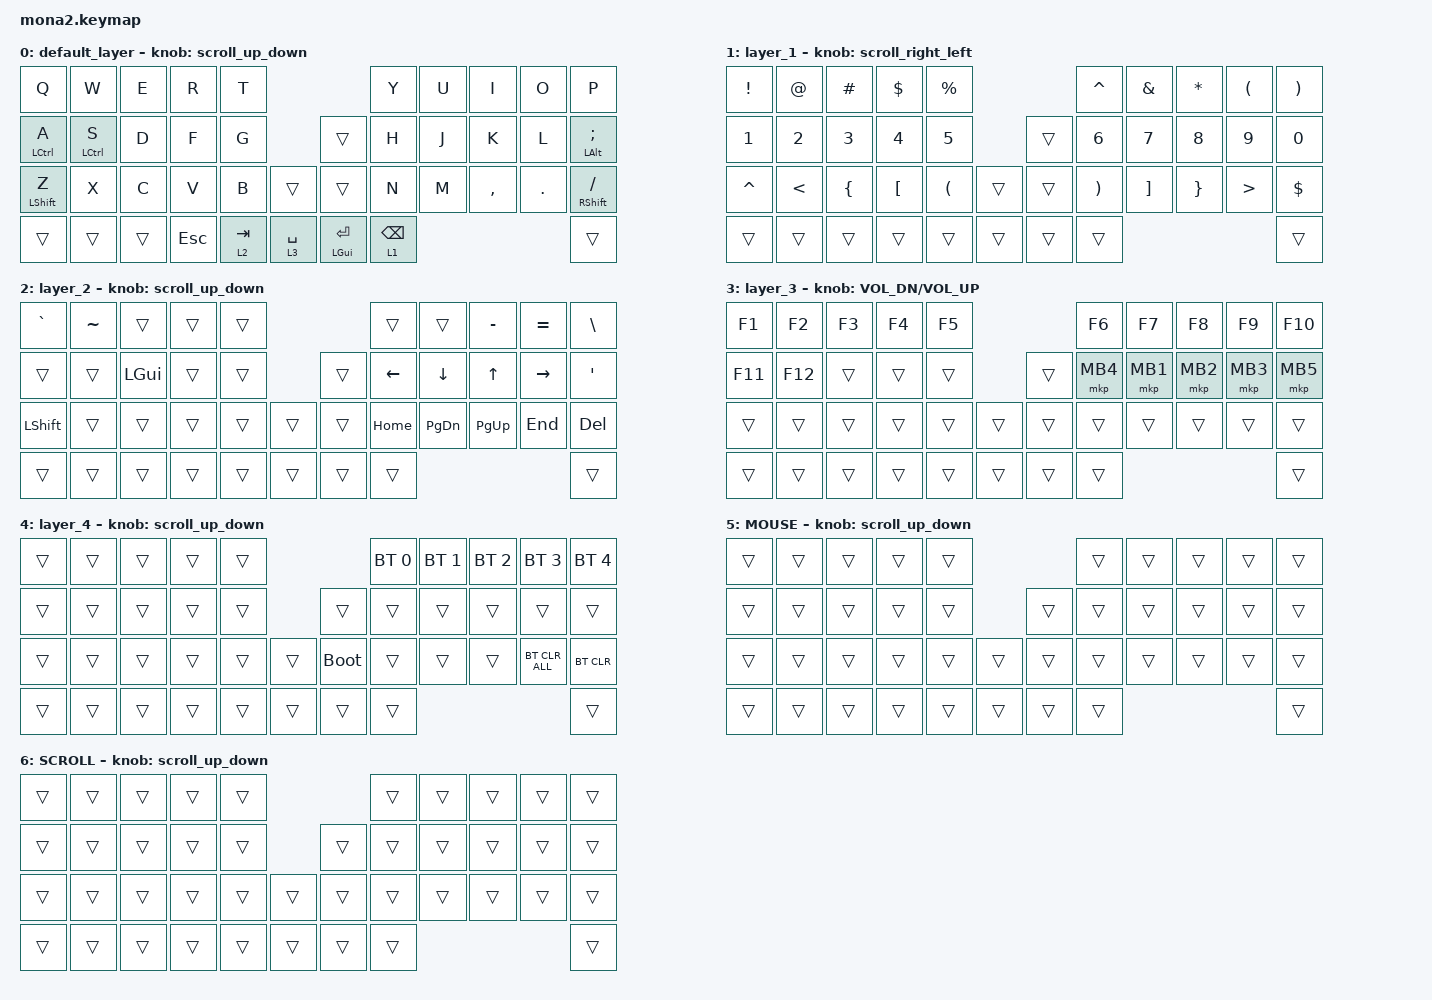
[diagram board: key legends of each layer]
#include <input/processors.dtsi>
#include <dt-bindings/zmk/input_transform.h>
#include <zephyr/dt-bindings/input/input-event-codes.h>
#include <behaviors.dtsi>
#include <dt-bindings/zmk/bt.h>
#include <dt-bindings/zmk/keys.h>
#include <dt-bindings/zmk/pointing.h>

#define ZMK_POINTING_DEFAULT_SCRL_VAL 100
#define MOUSE 5
#define SCROLL 6

&mt {
    flavor = "balanced";
    quick-tap-ms = <0>;
};

&lt {
    quick-tap-ms = <300>;
    flavor = "balanced";
};

/ {
    combos {
        compatible = "zmk,combos";

        layer4_ESC {
            bindings = <&lt 4 ESC>;
            key-positions = <37 40>;
        };
    };

    macros {
        to_layer_0: to_layer_0 {
            compatible = "zmk,behavior-macro-one-param";
            #binding-cells = <1>;
            bindings = <&to 0 &macro_param_1to1 &kp MACRO_PLACEHOLDER>;
            label = "TO_LAYER_0";
        };
    };

    behaviors {
        lt_to_layer_0: lt_to_layer_0 {
            compatible = "zmk,behavior-hold-tap";
            label = "LAYER_TAP_TO_0";
            bindings = <&mo>, <&to_layer_0>;

            #binding-cells = <2>;
            tapping-term-ms = <200>;
        };

        scroll_up_down: mouse_wheel_up_down {
            compatible = "zmk,behavior-sensor-rotate";
            #sensor-binding-cells = <0>;
            bindings = <&msc SCRL_DOWN>, <&msc SCRL_UP>;

            tap-ms = <20>;
        };

        scroll_right_left: mouse_wheel_right_left {
            compatible = "zmk,behavior-sensor-rotate";
            #sensor-binding-cells = <0>;
            bindings = <&msc SCRL_LEFT>, <&msc SCRL_RIGHT>;

            tap-ms = <20>;
        };
    };

    keymap {
        compatible = "zmk,keymap";

        default_layer {
            bindings = <
&kp Q             &kp W        &kp E   &kp R       &kp T                                         &kp Y            &kp U  &kp I      &kp O    &kp P
&mt LCTRL A       &mt LCTRL S  &kp D   &kp F       &kp G                     &trans              &kp H            &kp J  &kp K      &kp L    &mt LEFT_ALT SEMICOLON
&mt LEFT_SHIFT Z  &kp X        &kp C   &kp V       &kp B      &trans         &trans              &kp N            &kp M  &kp COMMA  &kp DOT  &mt RIGHT_SHIFT SLASH
&trans            &trans       &trans  &kp ESCAPE  &lt 2 TAB  &lt 3 SPACE    &mt LEFT_GUI ENTER  &lt 1 BACKSPACE                             &trans
            >;

            sensor-bindings = <&scroll_up_down>;
        };

        layer_1 {
            bindings = <
&kp EXCLAMATION  &kp AT  &kp HASH  &kp DLLR  &kp PRCNT                               &kp CARET  &kp AMPS      &kp STAR         &kp LPAR          &kp RPAR
&kp N1           &kp N2  &kp N3    &kp N4    &kp NUMBER_5                    &trans  &kp N6     &kp NUMBER_7  &kp NUMBER_8     &kp NUMBER_9      &kp NUMBER_0
&kp CARET        &kp LT  &kp LBRC  &kp LBKT  &kp LEFT_PARENTHESIS  &trans    &trans  &kp RPAR   &kp RBKT      &kp RIGHT_BRACE  &kp GREATER_THAN  &kp DOLLAR
&trans           &trans  &trans    &trans    &trans                &trans    &trans  &trans                                                      &trans
            >;

            sensor-bindings = <&scroll_right_left>;
        };

        layer_2 {
            bindings = <
&kp GRAVE       &kp TILDE  &trans        &trans  &trans                    &trans    &trans         &kp MINUS     &kp EQUAL  &kp BACKSLASH
&trans          &trans     &kp LEFT_GUI  &trans  &trans            &trans  &kp LEFT  &kp DOWN       &kp UP_ARROW  &kp RIGHT  &kp SINGLE_QUOTE
&kp LEFT_SHIFT  &trans     &trans        &trans  &trans  &trans    &trans  &kp HOME  &kp PAGE_DOWN  &kp PG_UP     &kp END    &kp DELETE
&trans          &trans     &trans        &trans  &trans  &trans    &trans  &trans                                            &trans
            >;

            sensor-bindings = <&scroll_up_down>;
        };

        layer_3 {
            bindings = <
&kp F1   &kp F2   &kp F3  &kp F4  &kp F5                    &kp F6    &kp F7    &kp F8    &kp F9    &kp F10
&kp F11  &kp F12  &trans  &trans  &trans            &trans  &mkp MB4  &mkp MB1  &mkp MB2  &mkp MB3  &mkp MB5
&trans   &trans   &trans  &trans  &trans  &trans    &trans  &trans    &trans    &trans    &trans    &trans
&trans   &trans   &trans  &trans  &trans  &trans    &trans  &trans                                  &trans
            >;

            sensor-bindings = <&inc_dec_kp C_VOL_DN C_VOL_UP>;
        };

        layer_4 {
            bindings = <
&trans  &trans  &trans  &trans  &trans                         &bt BT_SEL 0  &bt BT_SEL 1  &bt BT_SEL 2  &bt BT_SEL 3    &bt BT_SEL 4
&trans  &trans  &trans  &trans  &trans            &trans       &trans        &trans        &trans        &trans          &trans
&trans  &trans  &trans  &trans  &trans  &trans    &bootloader  &trans        &trans        &trans        &bt BT_CLR_ALL  &bt BT_CLR
&trans  &trans  &trans  &trans  &trans  &trans    &trans       &trans                                                    &trans
            >;

            sensor-bindings = <&scroll_up_down>;
        };

        MOUSE {
            bindings = <
&trans  &trans  &trans  &trans  &trans                    &trans  &trans  &trans  &trans  &trans
&trans  &trans  &trans  &trans  &trans            &trans  &trans  &trans  &trans  &trans  &trans
&trans  &trans  &trans  &trans  &trans  &trans    &trans  &trans  &trans  &trans  &trans  &trans
&trans  &trans  &trans  &trans  &trans  &trans    &trans  &trans                          &trans
            >;

            sensor-bindings = <&scroll_up_down>;
        };

        SCROLL {
            bindings = <
&trans  &trans  &trans  &trans  &trans                    &trans  &trans  &trans  &trans  &trans
&trans  &trans  &trans  &trans  &trans            &trans  &trans  &trans  &trans  &trans  &trans
&trans  &trans  &trans  &trans  &trans  &trans    &trans  &trans  &trans  &trans  &trans  &trans
&trans  &trans  &trans  &trans  &trans  &trans    &trans  &trans                          &trans
            >;

            sensor-bindings = <&scroll_up_down>;
        };
    };
};
